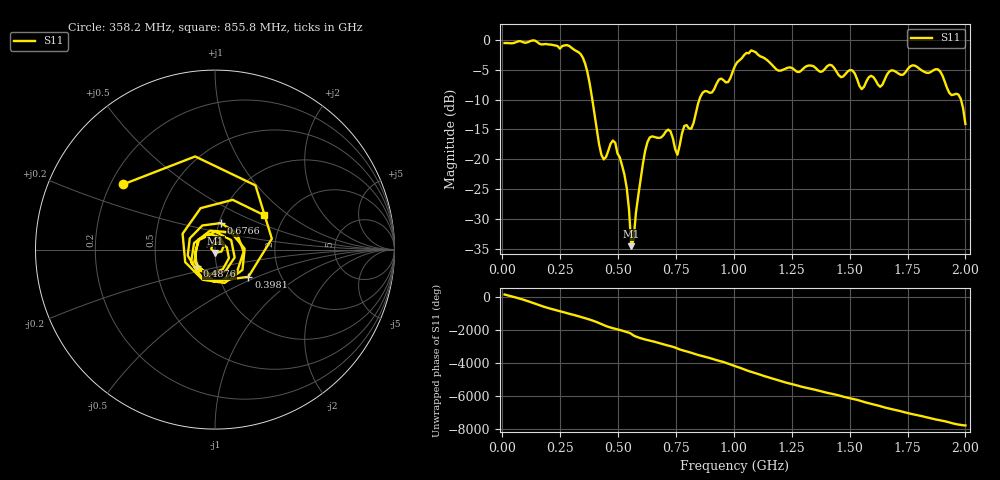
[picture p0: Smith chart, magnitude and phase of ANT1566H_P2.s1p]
!Created with skrf (http://scikit-rf.org).
# Hz S RI R 50.0
!freq ReS11 ImS11
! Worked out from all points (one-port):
!   201 points, 10 MHz to 2 GHz, reference 50 ohm
!   lowest |S11| = -34.6 dB at 557.2 MHz (marker M1), VSWR 1.04, Z = 50.1 - j1.87 ohm
!   |S11| at or under -10 dB: 388.8 MHz to 851.3 MHz (462.5 MHz wide, 74.6 % of centre); 1.981 GHz to end of sweep
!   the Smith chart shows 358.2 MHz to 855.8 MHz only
!   S11 on the Smith chart (normalised r, x): 358.2 MHz: 0.25, +0.30; 398.1 MHz: 1.38, -0.44; 487.6 MHz: 0.80, -0.15; 676.6 MHz: 1.02, +0.31; 855.8 MHz: 1.58, +0.68
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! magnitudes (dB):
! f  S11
! 10 MHz  -0.5
! 258.8 MHz  -1.0
! 358.2 MHz  -4.0
! 398.1 MHz  -12.4
! 437.9 MHz  -20.0
! 487.6 MHz  -17.2
! 507.5 MHz  -19.7
! 537.4 MHz  -24.8
! 557.2 MHz  -34.6
! 617 MHz  -18.6
! 676.6 MHz  -16.4
! 726.4 MHz  -15.3
! 756.2 MHz  -19.2
! 786.1 MHz  -14.4
! 816 MHz  -14.9
! 855.8 MHz  -9.5
! 975.1 MHz  -7.1
! 1.005 GHz  -4.3
! 1.075 GHz  -1.8
! 1.254 GHz  -4.8
! 1.502 GHz  -5.0
! 1.552 GHz  -8.2
! 1.592 GHz  -6.0
! 1.751 GHz  -4.9
! 1.891 GHz  -5.2
! 1.93 GHz  -8.9
! 1.98 GHz  -9.9
! 2 GHz  -14.1
